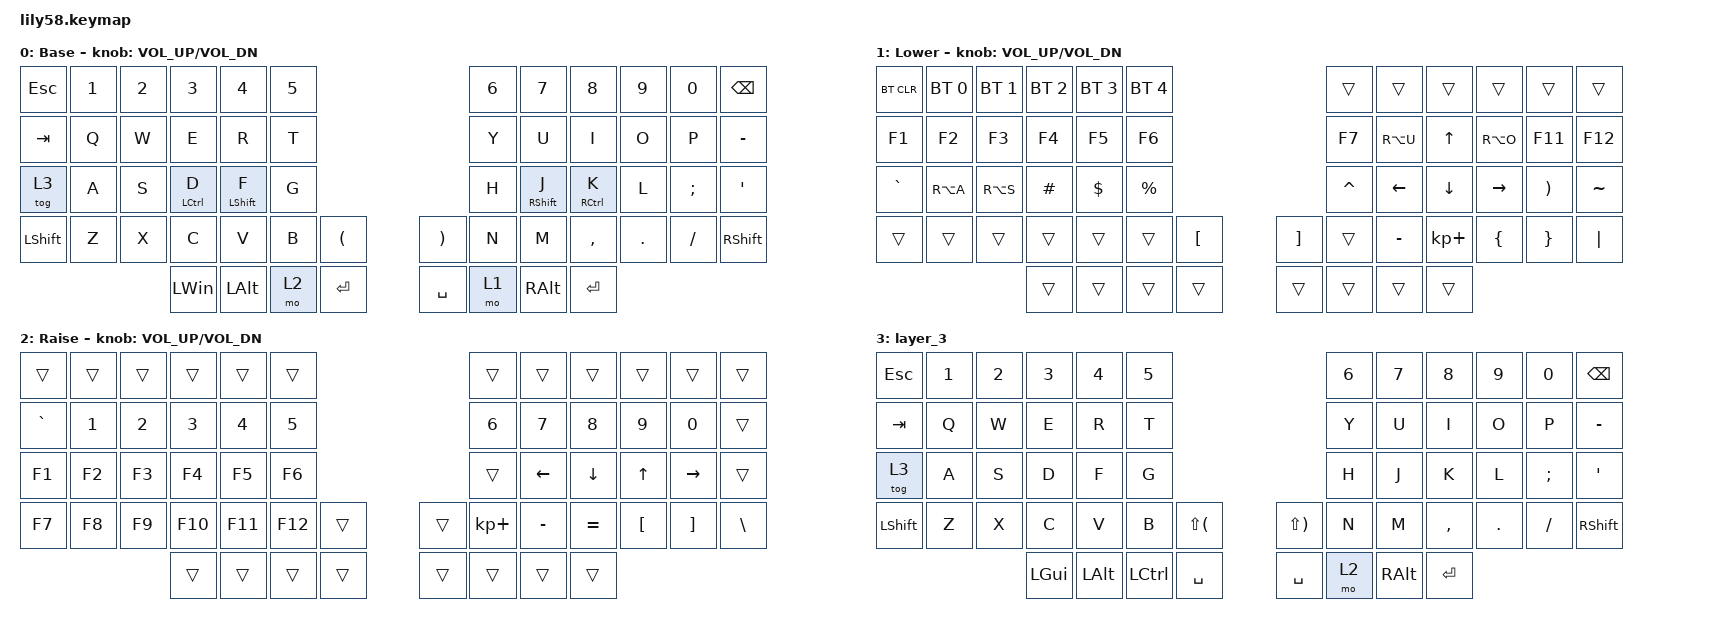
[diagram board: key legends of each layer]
/*
 * Copyright (c) 2020 The ZMK Contributors
 *
 * SPDX-License-Identifier: MIT
 */

#include <behaviors.dtsi>
#include <dt-bindings/zmk/bt.h>
#include <dt-bindings/zmk/keys.h>

/ {
    behaviors {
        hml: hml {
            compatible = "zmk,behavior-hold-tap";
            label = "HML";
            bindings = <&kp>, <&kp>;

            #binding-cells = <2>;
            flavor = "balanced";
            tapping-term-ms = <280>;
            quick-tap-ms = <175>;
            require-prior-idle-ms = <150>;
            hold-trigger-key-positions = <6 7 8 9 10 11 18 19 20 21 22 23 30 31 32 33 34 35 44 45 46 47 48 49 43 50 51 52 53 54 55 56 57>;
            hold-trigger-on-release;
        };

        hmr: hmr {
            compatible = "zmk,behavior-hold-tap";
            label = "HMR";
            bindings = <&kp>, <&kp>;

            #binding-cells = <2>;
            tapping-term-ms = <280>;
            quick-tap-ms = <175>;
            require-prior-idle-ms = <150>;
            flavor = "balanced";
            hold-trigger-key-positions = <0 1 2 3 4 5 12 13 14 15 16 17 24 25 26 27 28 29 36 37 38 39 40 41 42 50 51 52 53 54 55 56 57>;
            hold-trigger-on-release;
        };
    };

    keymap {
        compatible = "zmk,keymap";

        default_layer {
            // ------------------------------------------------------------------------------------------------------------
            // |  ESC  |  1  |  2  |  3   |  4   |  5   |                   |  6   |  7    |  8    |  9   |   0   |   `   |
            // |  TAB  |  Q  |  W  |  E   |  R   |  T   |                   |  Y   |  U    |  I    |  O   |   P   |   -   |
            // |  CTRL |  A  |  S  |  D   |  F   |  G   |                   |  H   |  J    |  K    |  L   |   ;   |   '   |
            // | SHIFT |  Z  |  X  |  C   |  V   |  B   |   "["  |  |  "]"  |  N   |  M    |  ,    |  .   |   /   | SHIFT |
            //                     | ALT  | GUI  | LOWER|  SPACE |  | ENTER | RAISE| BSPC  | GUI   |

            display-name = "Base";
            bindings = <
&kp ESC    &kp N1  &kp N2  &kp N3               &kp N4             &kp N5                                                 &kp N6  &kp N7              &kp N8                &kp N9   &kp N0    &kp BACKSPACE
&kp TAB    &kp Q   &kp W   &kp E                &kp R              &kp T                                                  &kp Y   &kp U               &kp I                 &kp O    &kp P     &kp MINUS
&tog 3     &kp A   &kp S   &hml LEFT_CONTROL D  &hml LEFT_SHIFT F  &kp G                                                  &kp H   &hmr RIGHT_SHIFT J  &hmr RIGHT_CONTROL K  &kp L    &kp SEMI  &kp SQT
&kp LSHFT  &kp Z   &kp X   &kp C                &kp V              &kp B   &kp LEFT_PARENTHESIS    &kp RIGHT_PARENTHESIS  &kp N   &kp M               &kp COMMA             &kp DOT  &kp FSLH  &kp RSHFT
                           &kp LWIN             &kp LEFT_ALT       &mo 2   &kp ENTER               &kp SPACE              &mo 1   &kp RIGHT_ALT       &kp ENTER
            >;

            sensor-bindings = <&inc_dec_kp C_VOL_UP C_VOL_DN>;
        };

        lower_layer {
            // ------------------------------------------------------------------------------------------------------------
            // | BTCLR | BT1 | BT2 |  BT3 |  BT4 |  BT5 |                   |      |       |       |      |       |       |
            // |  F1   |  F2 |  F3 |  F4  |  F5  |  F6  |                   |  F7  |  F8   |  F9   |  F10 |  F11  |  F12  |
            // |   `   |  !  |  @  |  #   |  $   |  %   |                   |  ^   |  &    |  *    |  (   |   )   |   ~   |
            // |       |     |     |      |      |      |        |  |       |      |  _    |  +    |  {   |   }   |  "|"  |
            //                     |      |      |      |        |  |       |      |       |       |

            display-name = "Lower";
            bindings = <
&bt BT_CLR  &bt BT_SEL 0  &bt BT_SEL 1  &bt BT_SEL 2  &bt BT_SEL 3  &bt BT_SEL 4                                         &trans     &trans          &trans          &trans     &trans    &trans
&kp F1      &kp F2        &kp F3        &kp F4        &kp F5        &kp F6                                               &kp F7     &kp RA(U)       &kp UP_ARROW    &kp RA(O)  &kp F11   &kp F12
&kp GRAVE   &kp RA(A)     &kp RA(S)     &kp HASH      &kp DOLLAR    &kp PRCNT                                            &kp CARET  &kp LEFT_ARROW  &kp DOWN_ARROW  &kp RIGHT  &kp RPAR  &kp TILDE
&trans      &trans        &trans        &trans        &trans        &trans        &kp LEFT_BRACKET    &kp RIGHT_BRACKET  &trans     &kp MINUS       &kp KP_PLUS     &kp LBRC   &kp RBRC  &kp PIPE
                                        &trans        &trans        &trans        &trans              &trans             &trans     &trans          &trans
            >;

            sensor-bindings = <&inc_dec_kp C_VOL_UP C_VOL_DN>;
        };

        raise_layer {
            // ------------------------------------------------------------------------------------------------------------
            // |       |     |     |      |      |      |                   |      |       |       |      |       |       |
            // |   `   |  1  |  2  |  3   |  4   |  5   |                   |  6   |   7   |   8   |  9   |   0   |       |
            // |   F1  |  F2 |  F3 |  F4  |  F5  |  F6  |                   |      |   <-  |   v   |  ^   |  ->   |       |
            // |   F7  |  F8 |  F9 |  F10 |  F11 |  F12 |        |  |       |  +   |   -   |   =   |  [   |   ]   |   \   |
            //                     |      |      |      |        |  |       |      |       |       |

            display-name = "Raise";
            bindings = <
&trans     &trans  &trans  &trans   &trans   &trans                     &trans       &trans     &trans     &trans    &trans     &trans
&kp GRAVE  &kp N1  &kp N2  &kp N3   &kp N4   &kp N5                     &kp N6       &kp N7     &kp N8     &kp N9    &kp N0     &trans
&kp F1     &kp F2  &kp F3  &kp F4   &kp F5   &kp F6                     &trans       &kp LEFT   &kp DOWN   &kp UP    &kp RIGHT  &trans
&kp F7     &kp F8  &kp F9  &kp F10  &kp F11  &kp F12  &trans    &trans  &kp KP_PLUS  &kp MINUS  &kp EQUAL  &kp LBKT  &kp RBKT   &kp BSLH
                           &trans   &trans   &trans   &trans    &trans  &trans       &trans     &trans
            >;

            sensor-bindings = <&inc_dec_kp C_VOL_UP C_VOL_DN>;
        };

        layer_3 {
            bindings = <
&kp ESC    &kp N1  &kp N2  &kp N3    &kp N4    &kp N5                                          &kp N6  &kp N7    &kp N8     &kp N9   &kp N0    &kp BSPC
&kp TAB    &kp Q   &kp W   &kp E     &kp R     &kp T                                           &kp Y   &kp U     &kp I      &kp O    &kp P     &kp MINUS
&tog 3     &kp A   &kp S   &kp D     &kp F     &kp G                                           &kp H   &kp J     &kp K      &kp L    &kp SEMI  &kp SQT
&kp LSHFT  &kp Z   &kp X   &kp C     &kp V     &kp B             &kp LS(LPAR)    &kp LS(RPAR)  &kp N   &kp M     &kp COMMA  &kp DOT  &kp FSLH  &kp RSHFT
                           &kp LGUI  &kp LALT  &kp LEFT_CONTROL  &kp SPACE       &kp SPACE     &mo 2   &kp RALT  &kp RET
            >;
        };
    };
};
